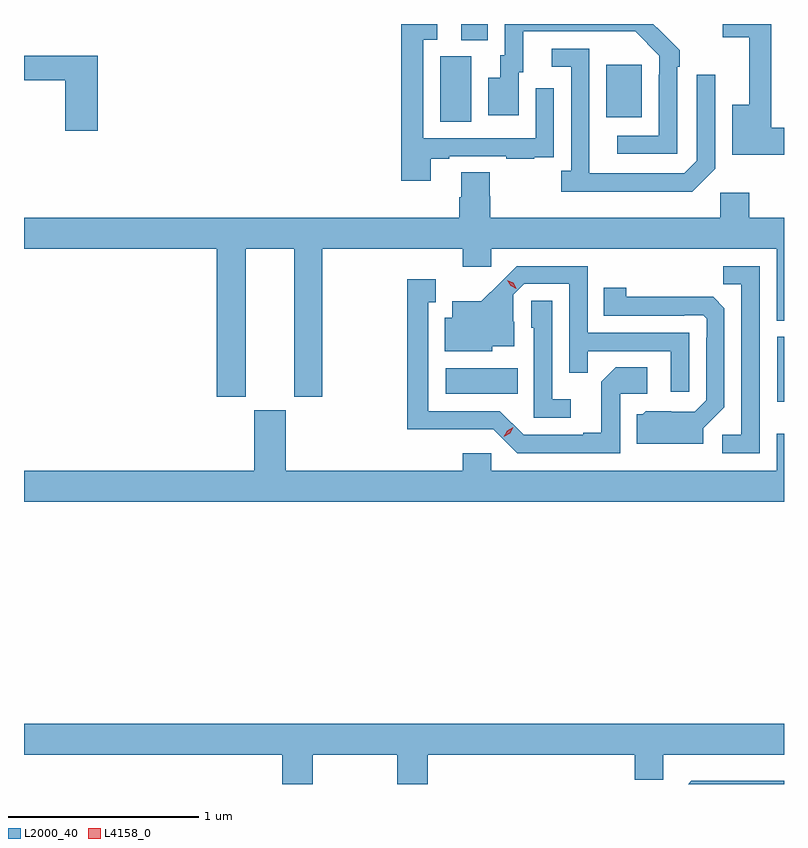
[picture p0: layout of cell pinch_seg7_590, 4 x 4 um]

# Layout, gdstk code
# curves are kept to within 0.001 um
import gdstk
lib = gdstk.Library(unit=1e-6, precision=1e-09)
def R(c, l, rs):  # rectangles x0, y0, x1, y1
    for r in rs: c.add(gdstk.rectangle(r[:2], r[2:], *l))
def P(c, l, *ps):  # polygons
    for p in ps: c.add(gdstk.Polygon(p, *l))
L2000_40 = (2000, 40)
L4158_0 = (4158, 0)

pinch_seg7_590 = lib.new_cell('pinch_seg7_590')
R(pinch_seg7_590, L2000_40, [(148.889,1017.126,148.925,1017.469), (147.144,1017.17,147.524,1017.304), (147.116,1018.6,147.28,1018.944), (147.989,1018.625,148.177,1018.9), (147.227,1019.029,147.367,1019.115)])
P(pinch_seg7_590, L2000_40, [(148.362,1018.889),(148.377,1018.889),(148.377,1018.977),(148.272,1019.082),(148.271,1019.081),(148.237,1019.115),(147.456,1019.115),(147.456,1018.95),(147.431,1018.95),(147.431,1018.831),(147.368,1018.831),(147.368,1018.635),(147.529,1018.635),(147.529,1018.86),(147.553,1018.86),(147.553,1019.076),(148.141,1019.076),(148.269,1018.947),(148.269,1018.847),(148.266,1018.847),(148.266,1018.527),(148.047,1018.527),(148.047,1018.431),(148.362,1018.431)],
  [(148.925,1018.568),(148.859,1018.568),(148.859,1019.115),(148.602,1019.115),(148.602,1019.046),(148.742,1019.046),(148.742,1018.69),(148.652,1018.69),(148.652,1018.426),(148.925,1018.426)],
  [(147.067,1018.407),(147.163,1018.407),(147.163,1018.419),(147.463,1018.419),(147.463,1018.407),(147.611,1018.407),(147.611,1018.413),(147.713,1018.413),(147.713,1018.522),(147.714,1018.522),(147.714,1018.777),(147.618,1018.777),(147.618,1018.515),(147.027,1018.515),(147.027,1019.031),(147.1,1019.031),(147.1,1019.115),(146.911,1019.115),(146.911,1018.29),(147.067,1018.29)],
  [(148.563,1018.353),(148.563,1018.849),(148.467,1018.849),(148.467,1018.395),(148.401,1018.329),(147.901,1018.329),(147.9,1018.986),(147.702,1018.986),(147.702,1018.89),(147.804,1018.89),(147.804,1018.342),(147.753,1018.342),(147.753,1018.232),(148.442,1018.232)],
  [(145.313,1018.948),(144.925,1018.948),(144.925,1018.819),(145.142,1018.819),(145.142,1018.554),(145.313,1018.554)],
  [(146.092,1017.932),(146.348,1017.932),(146.348,1017.153),(146.496,1017.153),(146.496,1017.932),(147.233,1017.932),(147.233,1017.837),(147.384,1017.837),(147.384,1017.932),(148.886,1017.932),(148.886,1017.554),(148.925,1017.554),(148.925,1018.096),(148.742,1018.096),(148.742,1018.228),(148.59,1018.228),(148.59,1018.096),(147.38,1018.096),(147.38,1018.209),(147.375,1018.209),(147.375,1018.334),(147.227,1018.334),(147.227,1018.202),(147.215,1018.202),(147.215,1018.096),(144.925,1018.096),(144.925,1017.932),(145.94,1017.932),(145.94,1017.153),(146.092,1017.153)],
  [(148.797,1017.84),(148.606,1017.84),(148.606,1017.745),(148.701,1017.745),(148.701,1016.952),(148.599,1016.952),(148.599,1016.856),(148.797,1016.856)],
  [(148.425,1017.489),(147.891,1017.489),(147.891,1017.84),(147.518,1017.84),(147.331,1017.655),(147.179,1017.655),(147.179,1017.568),(147.14,1017.568),(147.14,1017.392),(147.39,1017.392),(147.39,1017.419),(147.505,1017.419),(147.505,1017.548),(147.501,1017.548),(147.501,1017.69),(147.558,1017.747),(147.795,1017.747),(147.795,1017.28),(147.893,1017.28),(147.893,1017.393),(148.329,1017.393),(148.329,1017.18),(148.425,1017.18)],
  [(148.062,1017.168),(148.204,1017.168),(148.204,1017.308),(148.039,1017.308),(147.963,1017.232),(147.963,1016.965),(147.869,1016.965),(147.869,1016.952),(147.555,1016.952),(147.429,1017.078),(147.052,1017.078),(147.052,1017.651),(147.091,1017.651),(147.091,1017.772),(146.941,1017.772),(146.941,1016.981),(147.396,1016.982),(147.522,1016.856),(148.062,1016.856)],
  [(148.501,1016.988),(148.611,1017.098),(148.611,1017.62),(148.552,1017.679),(148.095,1017.68),(148.095,1017.727),(147.976,1017.727),(147.976,1017.579),(148.4,1017.579),(148.4,1017.582),(148.5,1017.582),(148.518,1017.564),(148.518,1017.464),(148.515,1017.464),(148.515,1017.135),(148.455,1017.075),(148.198,1017.076),(148.182,1017.06),(148.151,1017.06),(148.151,1016.906),(148.501,1016.906)],
  [(147.802,1017.139),(147.705,1017.139),(147.705,1017.659),(147.594,1017.659),(147.594,1017.516),(147.609,1017.516),(147.609,1017.042),(147.802,1017.042)],
  [(148.925,1016.959),(148.886,1016.959),(148.886,1016.764),(147.384,1016.764),(147.384,1016.857),(147.233,1016.857),(147.233,1016.764),(146.302,1016.764),(146.302,1017.081),(146.138,1017.081),(146.138,1016.764),(144.925,1016.764),(144.925,1016.6),(148.925,1016.6)],
  [(146.445,1015.268),(146.89,1015.268),(146.89,1015.115),(147.05,1015.115),(147.05,1015.268),(148.139,1015.268),(148.139,1015.137),(148.29,1015.137),(148.29,1015.268),(148.925,1015.268),(148.925,1015.432),(144.925,1015.432),(144.925,1015.268),(146.285,1015.268),(146.285,1015.115),(146.445,1015.115)],
  [(148.925,1015.132),(148.438,1015.132),(148.421,1015.115),(148.925,1015.115)])
P(pinch_seg7_590, L4158_0, [(147.517,1017.722),(147.486,1017.738),(147.469,1017.767),(147.469,1017.767),(147.469,1017.767),(147.5,1017.752),(147.517,1017.723),(147.517,1017.722)],
  [(147.451,1016.942),(147.451,1016.942),(147.468,1016.974),(147.5,1016.993),(147.5,1016.993),(147.5,1016.993),(147.483,1016.96),(147.451,1016.942)])

lib.write_gds('pinch_seg7_590.gds')
